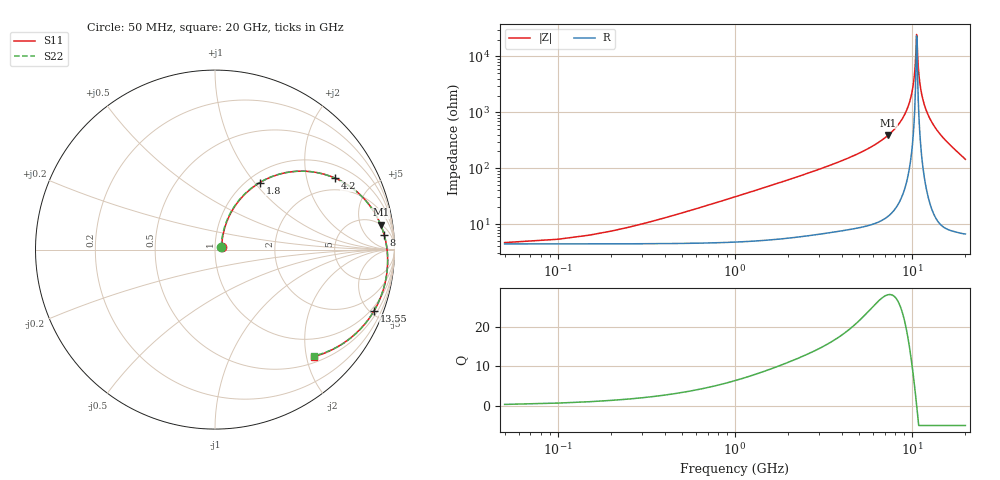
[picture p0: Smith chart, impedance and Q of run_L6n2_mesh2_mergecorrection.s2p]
#  Hz  S  RI  R  50
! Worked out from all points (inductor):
!   400 points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, 50 MHz to 20 GHz, reference 50 ohm
!   read as one part in series: L = 4.8 nH near 450 MHz
!   highest Q = 28.2 at 7.35 GHz (marker M1), where L = 8.51 nH
!   self-resonance near 10.6 GHz
!   S11 on the Smith chart (normalised r, x): 50 MHz: 1.08, +0.03; 1.8 GHz: 1.14, +1.06; 4.2 GHz: 1.46, +2.96; 8 GHz: 11, +17; 13.55 GHz: 0.76, -5.30; 20 GHz: 0.61, -2.14
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5e7  0.0371 0.0133  0.9502 -0.0143  0.9516 -0.0144  0.0346 0.0134
3.5e8  0.0468 0.092  0.9401 -0.0993  0.9414 -0.0997  0.0445 0.0928
6.5e8  0.0704 0.1666  0.9155 -0.1799  0.9166 -0.1807  0.0685 0.168
1.8e9  0.25 0.3732  0.7292 -0.4056  0.729 -0.4068  0.2504 0.375
3.4e9  0.5477 0.4326  0.4241 -0.4832  0.4233 -0.483  0.5489 0.432
4.2e9  0.6675 0.3992  0.3027 -0.4581  0.3024 -0.4575  0.6679 0.398
6.7e9  0.8938 0.1981  0.0739 -0.2869  0.0743 -0.2871  0.893 0.1982
7.35e9  0.923 0.1389  0.0437 -0.2359  0.0438 -0.2363  0.9226 0.1392
8e9  0.9431 0.0803  0.0224 -0.1856  0.0223 -0.186  0.9431 0.0806
9.3e9  0.9612 -0.0321  0.00172 -0.0895  0.00131 -0.0895  0.9615 -0.0324
1.005e10  0.961 -0.0931  0.00039 -0.0378  7.33e-05 -0.0376  0.9611 -0.0939
1.04e10  0.9587 -0.1207  0.00198 -0.0147  0.00176 -0.0144  0.9587 -0.1215
1.06e10  0.9568 -0.1361  0.00347 -0.00175  0.00331 -0.00142  0.9567 -0.1369
1.065e10  0.9563 -0.1399  0.00391 0.00145  0.00376 0.00178  0.9561 -0.1408
1.075e10  0.9551 -0.1475  0.00485 0.0078  0.00474 0.00814  0.9549 -0.1484
1.09e10  0.9532 -0.1589  0.00646 0.0172  0.00639 0.0176  0.9529 -0.1597
1.13e10  0.9471 -0.1885  0.0118 0.0418  0.0118 0.0421  0.9466 -0.1893
1.21e10  0.9305 -0.2454  0.0266 0.0884  0.0268 0.0885  0.9297 -0.2458
1.335e10  0.8941 -0.3274  0.0599 0.154  0.0599 0.1537  0.8935 -0.3271
1.355e10  0.8872 -0.3398  0.0662 0.1637  0.0662 0.1633  0.8867 -0.3394
1.67e10  0.7456 -0.4998  0.1977 0.2823  0.1973 0.2833  0.7457 -0.5012
2e10  0.5519 -0.5964  0.3785 0.333  0.3785 0.3307  0.5521 -0.5921
